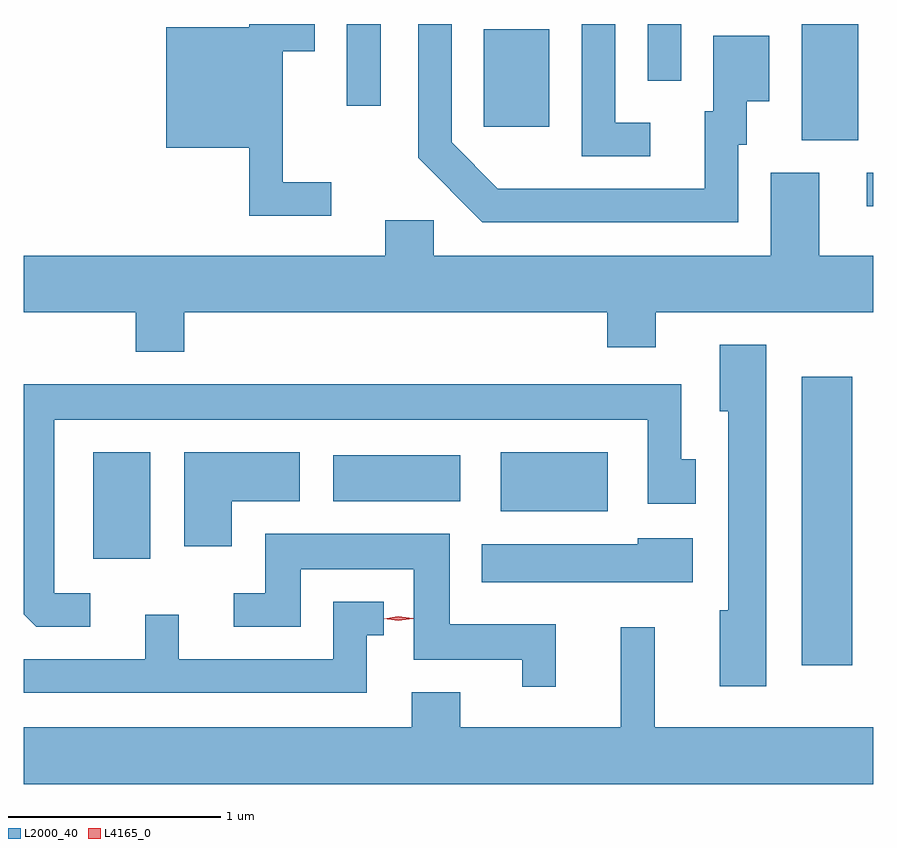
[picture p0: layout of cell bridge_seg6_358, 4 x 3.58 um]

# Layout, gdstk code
import gdstk
lib = gdstk.Library(unit=1e-6, precision=1e-09)
def R(c, l, rs):  # rectangles x0, y0, x1, y1
    for r in rs: c.add(gdstk.rectangle(r[:2], r[2:], *l))
def P(c, l, *ps):  # polygons
    for p in ps: c.add(gdstk.Polygon(p, *l))
L2000_40 = (2000, 40)
L4165_0 = (4165, 0)

bridge_seg6_358 = lib.new_cell('bridge_seg6_358')
R(bridge_seg6_358, L2000_40, [(945.306,1626.076,945.544,1627.434), (941.971,1626.576,942.239,1627.079), (943.891,1626.801,944.394,1627.079), (943.101,1626.846,943.699,1627.064), (945.613,1628.236,945.644,1628.394), (945.306,1628.546,945.574,1629.094), (943.811,1628.611,944.119,1629.069), (943.166,1628.708,943.324,1629.094), (944.581,1628.828,944.739,1629.094)])
P(bridge_seg6_358, L2000_40, [(945.009,1628.526),(945.049,1628.526),(945.049,1628.731),(945.154,1628.731),(945.154,1629.039),(944.891,1629.039),(944.891,1628.684),(944.851,1628.684),(944.851,1628.319),(943.877,1628.319),(943.659,1628.537),(943.659,1629.094),(943.501,1629.094),(943.501,1628.464),(943.804,1628.161),(945.009,1628.161)],
  [(943.093,1628.349),(942.864,1628.349),(942.864,1628.966),(943.014,1628.966),(943.014,1629.094),(942.706,1629.094),(942.706,1629.079),(942.316,1629.079),(942.316,1628.511),(942.706,1628.511),(942.706,1628.191),(943.093,1628.191)],
  [(944.593,1628.629),(944.429,1628.629),(944.429,1629.094),(944.271,1629.094),(944.271,1628.471),(944.593,1628.471)],
  [(942.399,1627.736),(944.391,1627.736),(944.391,1627.571),(944.619,1627.571),(944.619,1627.736),(945.644,1627.736),(945.644,1628.004),(945.389,1628.004),(945.389,1628.394),(945.161,1628.394),(945.161,1628.004),(943.574,1628.004),(943.574,1628.169),(943.346,1628.169),(943.346,1628.004),(941.644,1628.004),(941.644,1627.736),(942.171,1627.736),(942.171,1627.551),(942.399,1627.551)],
  [(945.139,1627.584),(944.921,1627.584),(944.921,1627.271),(944.961,1627.271),(944.961,1626.334),(944.921,1626.334),(944.921,1625.976),(945.139,1625.976)],
  [(941.958,1626.414),(941.789,1626.414),(941.789,1627.231),(944.581,1627.231),(944.581,1626.836),(944.809,1626.836),(944.809,1627.044),(944.739,1627.044),(944.739,1627.399),(941.644,1627.399),(941.644,1626.314),(941.702,1626.256),(941.958,1626.256)],
  [(942.624,1626.846),(942.944,1626.846),(942.944,1627.079),(942.401,1627.079),(942.401,1626.636),(942.624,1626.636)],
  [(944.149,1626.269),(943.649,1626.269),(943.649,1626.694),(942.781,1626.694),(942.781,1626.414),(942.633,1626.414),(942.633,1626.256),(942.949,1626.256),(942.949,1626.526),(943.481,1626.526),(943.481,1626.101),(943.991,1626.101),(943.991,1625.973),(944.149,1625.973)],
  [(944.794,1626.674),(944.536,1626.674),(944.536,1626.644),(943.801,1626.644),(943.801,1626.466),(944.794,1626.466)],
  [(943.259,1626.216),(943.338,1626.216),(943.338,1626.374),(943.101,1626.374),(943.101,1626.104),(942.374,1626.104),(942.374,1626.313),(942.216,1626.313),(942.216,1626.104),(941.644,1626.104),(941.644,1625.946),(943.259,1625.946)],
  [(945.644,1625.784),(944.614,1625.784),(944.614,1626.253),(944.456,1626.253),(944.456,1625.784),(943.699,1625.784),(943.699,1625.949),(943.471,1625.949),(943.471,1625.784),(941.644,1625.784),(941.644,1625.516),(945.644,1625.516)])
P(bridge_seg6_358, L4165_0, [(943.408,1626.285),(943.339,1626.294),(943.339,1626.295),(943.339,1626.295),(943.408,1626.305),(943.478,1626.296),(943.478,1626.296),(943.478,1626.295)])

lib.write_gds('bridge_seg6_358.gds')
